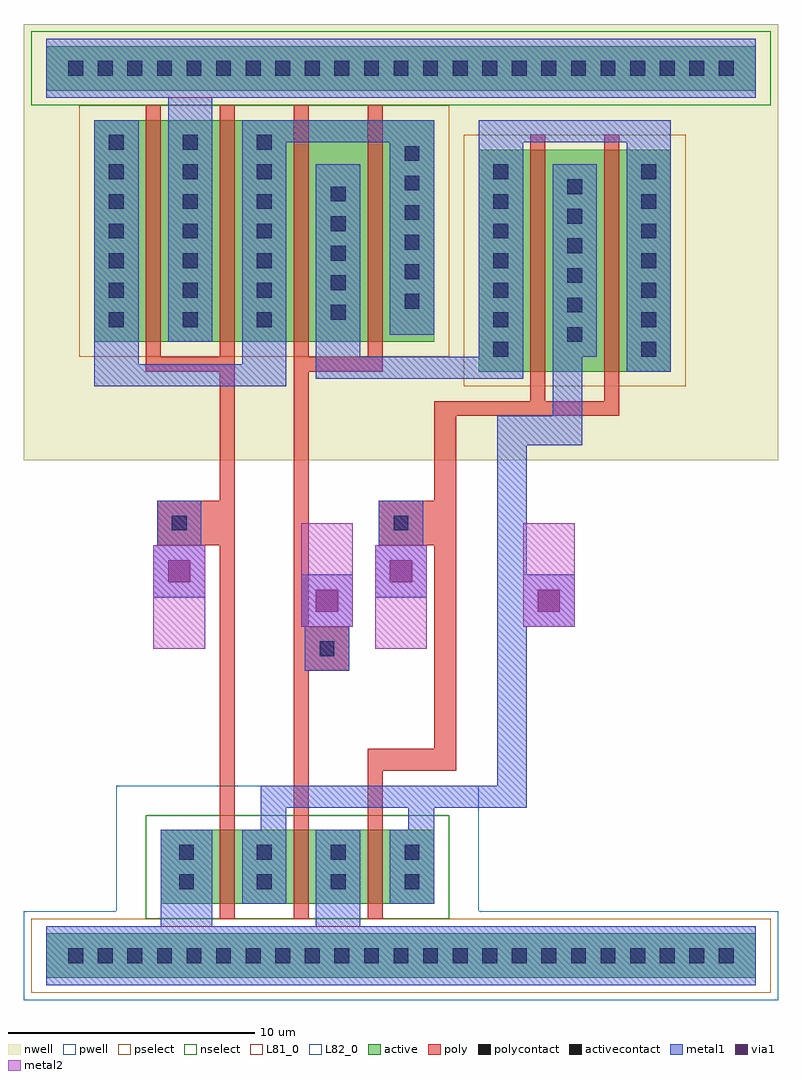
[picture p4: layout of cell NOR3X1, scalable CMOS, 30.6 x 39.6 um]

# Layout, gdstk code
import gdstk
lib = gdstk.Library(unit=1e-6, precision=1e-09)
def R(c, l, rs):  # rectangles x0, y0, x1, y1
    for r in rs: c.add(gdstk.rectangle(r[:2], r[2:], *l))
def A(c, l, x, y, w, h, nx, ny, dx, dy):  # array of equal rectangles
    R(c, l, [(x+i*dx, y+j*dy, x+i*dx+w, y+j*dy+h) for i in range(nx) for j in range(ny)])
pwell = (41, 0)
nwell = (42, 0)
active = (43, 0)
pselect = (44, 0)
nselect = (45, 0)
poly = (46, 0)
polycontact = (47, 0)
activecontact = (48, 0)
metal1 = (49, 0)
via1 = (50, 0)
metal2 = (51, 0)
L81_0 = (81, 0)
L82_0 = (82, 0)

nor3x1 = lib.new_cell('NOR3X1')
R(nor3x1, pwell, [(-1.8,-1.8,28.8,1.8), (1.95,1.8,16.65,6.9)])
R(nor3x1, nwell, [(-1.8,20.1,28.8,37.8)])
R(nor3x1, active, [(-0.9,-0.9,27.9,0.9), (3.75,2.1,14.85,5.1), (16.65,23.7,24.45,32.7), (1.05,24.9,14.85,33.9), (-0.9,35.1,27.9,36.9)])
R(nor3x1, pselect, [(-1.5,-1.5,28.5,1.5), (16.05,23.1,25.05,33.3), (0.45,24.3,15.45,34.5)])
R(nor3x1, nselect, [(3.15,1.5,15.45,5.7), (-1.5,34.5,28.5,37.5)])
A(nor3x1, poly, 3.15, 24.3, 0.6, 10.2, 4, 1, 3, 0)
R(nor3x1, poly, [(6.15,1.5,6.75,16.65), (9.15,1.5,9.75,11.55), (12.15,1.5,12.75,7.5), (12.15,7.5,15.75,8.4), (14.85,8.4,15.75,16.65), (9.15,11.55,11.4,13.35), (9.15,13.35,9.75,23.7), (3.6,16.65,6.75,18.45), (12.6,16.65,15.75,18.45), (6.15,18.45,6.75,23.7), (14.85,18.45,15.75,21.9), (14.85,21.9,22.35,22.5), (18.75,22.5,19.35,33.3), (21.75,22.5,22.35,33.3), (3.15,23.7,6.75,24.3), (9.15,23.7,12.75,24.3)])
R(nor3x1, polycontact, [(10.2,12.15,10.8,12.75), (4.2,17.25,4.8,17.85), (13.2,17.25,13.8,17.85)])
A(nor3x1, activecontact, 0, -0.3, 0.6, 0.6, 23, 2, 1.2, 36)
A(nor3x1, activecontact, 7.65, 2.7, 0.6, 0.6, 3, 2, 3, 1.2)
A(nor3x1, activecontact, 17.25, 24.3, 0.6, 0.6, 1, 7, 0, 1.2)
A(nor3x1, activecontact, 23.25, 24.3, 0.6, 0.6, 1, 7, 0, 1.2)
A(nor3x1, activecontact, 20.25, 24.9, 0.6, 0.6, 1, 6, 0, 1.2)
A(nor3x1, activecontact, 1.65, 25.5, 0.6, 0.6, 3, 7, 3, 1.2)
A(nor3x1, activecontact, 10.65, 25.8, 0.6, 0.6, 1, 5, 0, 1.2)
A(nor3x1, activecontact, 13.65, 26.25, 0.6, 0.6, 1, 6, 0, 1.2)
R(nor3x1, activecontact, [(4.5,2.7,5.1,3.3), (4.5,3.9,5.1,4.5)])
R(nor3x1, metal1, [(-0.9,-1.2,27.9,1.2), (3.75,1.2,5.85,5.1), (10.05,1.2,11.85,5.1), (7.05,2.1,8.85,5.1), (13.05,2.1,14.85,5.1), (7.8,5.1,8.85,6), (13.8,5.1,14.85,6), (7.8,6,18.6,6.9), (17.4,6.9,18.6,13.35), (9.6,11.55,11.4,13.35), (9.45,13.35,11.55,15.45), (17.4,13.35,20.55,15.45), (3.45,14.55,5.55,16.65), (12.45,14.55,14.55,16.65), (17.4,15.45,18.6,20.7), (3.6,16.65,5.4,18.45), (12.6,16.65,14.4,18.45), (17.4,20.7,20.85,21.9), (19.65,21.9,20.85,24.3), (1.05,23.1,8.85,24), (10.05,23.4,18.45,24.3), (22.65,23.7,24.45,33), (1.05,24,2.85,33.9), (7.05,24,8.85,33), (10.05,24.3,11.85,32.1), (16.65,24.3,18.45,33), (19.65,24.3,21.45,32.1), (4.05,24.9,5.85,34.8), (13.05,25.2,14.85,33), (7.05,33,14.85,33.9), (16.65,33,24.45,33.9), (-0.9,34.8,27.9,37.2)])
R(nor3x1, via1, [(10.05,13.95,10.95,14.85), (19.05,13.95,19.95,14.85), (4.05,15.15,4.95,16.05), (13.05,15.15,13.95,16.05)])
R(nor3x1, metal2, [(3.45,12.45,5.55,16.65), (12.45,12.45,14.55,16.65), (9.45,13.35,11.55,17.55), (18.45,13.35,20.55,17.55)])
R(nor3x1, L81_0, [(-0.9,-1.2,27.9,1.2), (-0.9,34.8,27.9,37.2)])
R(nor3x1, L82_0, [(3.45,12.45,5.55,14.55), (12.45,12.45,14.55,14.55), (9.45,15.45,11.55,17.55), (18.45,15.45,20.55,17.55)])

lib.write_gds('NOR3X1.gds')
